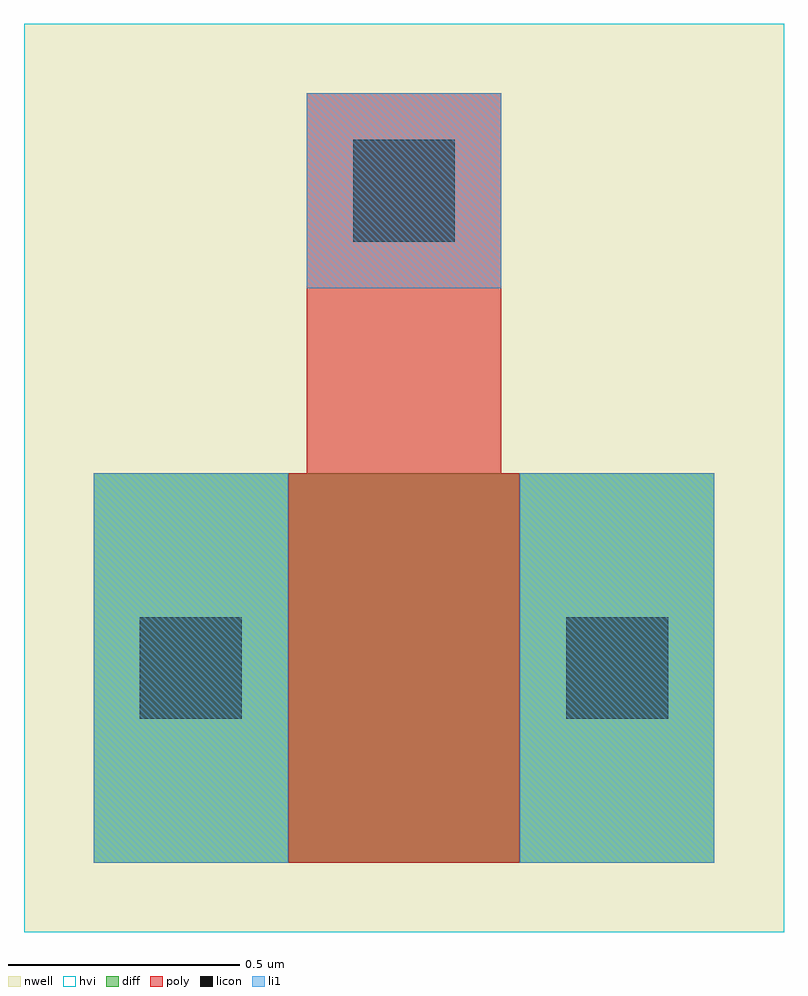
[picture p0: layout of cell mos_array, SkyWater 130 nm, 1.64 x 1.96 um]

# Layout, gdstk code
import gdstk
lib = gdstk.Library(unit=1e-6, precision=1e-09)
def R(c, l, rs):  # rectangles x0, y0, x1, y1
    for r in rs: c.add(gdstk.rectangle(r[:2], r[2:], *l))
nwell = (64, 20)
diff = (65, 20)
poly = (66, 20)
licon = (66, 44)
li1 = (67, 20)
hvi = (75, 20)

mos_array = lib.new_cell('mos_array')
R(mos_array, nwell, [(-0.15,-0.15,1.49,1.81)])
R(mos_array, diff, [(0,0,1.34,0.84)])
R(mos_array, poly, [(0.42,0,0.92,0.84), (0.46,0.84,0.88,1.66)])
R(mos_array, licon, [(0.1,0.31,0.32,0.53), (1.02,0.31,1.24,0.53), (0.56,1.34,0.78,1.56)])
R(mos_array, li1, [(0,0,0.42,0.84), (0.92,0,1.34,0.84), (0.46,1.24,0.88,1.66)])
R(mos_array, hvi, [(-0.15,-0.15,1.49,1.81)])

lib.write_gds('mos_array.gds')
